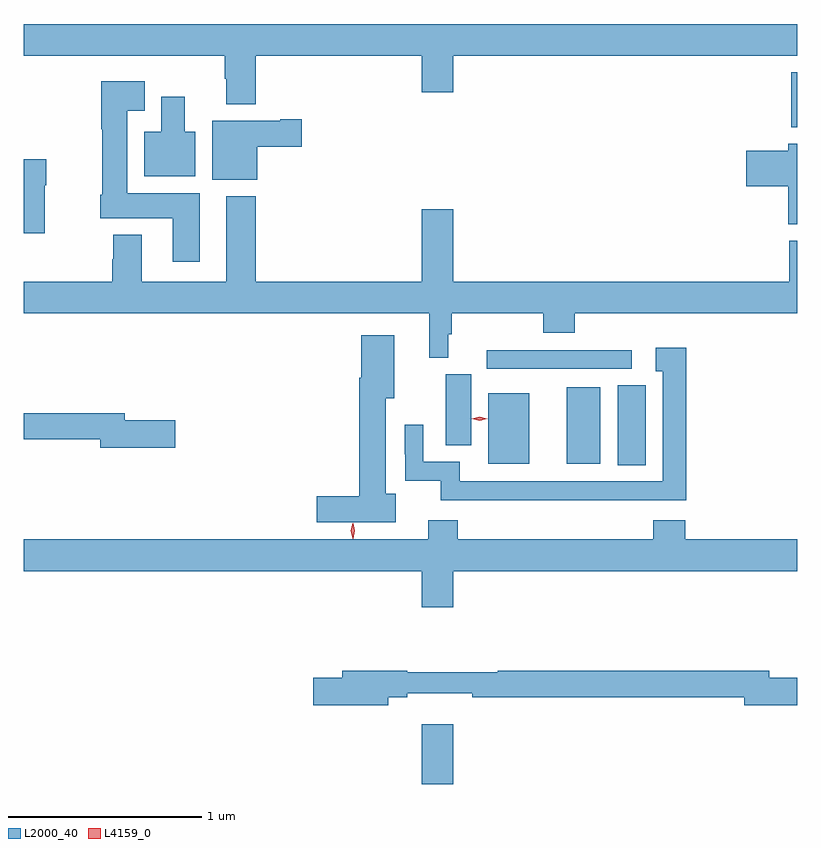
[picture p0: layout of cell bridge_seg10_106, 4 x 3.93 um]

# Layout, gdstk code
import gdstk
lib = gdstk.Library(unit=1e-6, precision=1e-09)
def R(c, l, rs):  # rectangles x0, y0, x1, y1
    for r in rs: c.add(gdstk.rectangle(r[:2], r[2:], *l))
def P(c, l, *ps):  # polygons
    for p in ps: c.add(gdstk.Polygon(p, *l))
L2000_40 = (2000, 40)
L4159_0 = (4159, 0)

bridge_seg10_106 = lib.new_cell('bridge_seg10_106')
R(bridge_seg10_106, L2000_40, [(476.696,1279.235,476.86,1279.543), (477.71,1280.884,477.853,1281.296), (477.041,1280.891,477.253,1281.256), (477.446,1280.891,477.619,1281.286), (476.819,1280.987,476.953,1281.354), (477.033,1281.381,477.781,1281.477), (478.607,1282.629,478.638,1282.915)])
P(bridge_seg10_106, L2000_40, [(475.838,1283),(476.696,1283),(476.696,1282.812),(476.86,1282.812),(476.86,1283),(478.638,1283),(478.638,1283.164),(474.638,1283.164),(474.638,1283),(475.678,1283),(475.678,1282.88),(475.685,1282.88),(475.685,1282.748),(475.838,1282.748)],
  [(475.549,1282.288),(475.174,1282.288),(475.174,1282.715),(475.264,1282.715),(475.264,1282.867),(475.04,1282.867),(475.04,1282.619),(475.045,1282.619),(475.045,1282.281),(475.034,1282.281),(475.034,1282.16),(475.409,1282.16),(475.409,1281.936),(475.549,1281.936)],
  [(475.525,1282.606),(475.471,1282.606),(475.471,1282.789),(475.349,1282.789),(475.349,1282.606),(475.262,1282.606),(475.262,1282.376),(475.525,1282.376)],
  [(475.846,1282.529),(476.077,1282.529),(476.077,1282.671),(475.964,1282.671),(475.964,1282.663),(475.613,1282.663),(475.613,1282.358),(475.846,1282.358)],
  [(478.638,1282.544),(478.592,1282.544),(478.592,1282.508),(478.374,1282.508),(478.374,1282.325),(478.592,1282.325),(478.592,1282.129),(478.638,1282.129)],
  [(474.748,1282.331),(474.756,1282.331),(474.756,1282.464),(474.638,1282.464),(474.638,1282.083),(474.748,1282.083)],
  [(476.834,1281.56),(476.852,1281.56),(476.852,1281.668),(477.323,1281.668),(477.323,1281.569),(477.488,1281.569),(477.488,1281.668),(478.638,1281.668),(478.638,1282.044),(478.595,1282.044),(478.595,1281.832),(476.86,1281.832),(476.86,1282.207),(476.696,1282.207),(476.696,1281.832),(475.838,1281.832),(475.838,1282.273),(475.685,1282.273),(475.685,1281.832),(475.249,1281.832),(475.249,1282.075),(475.102,1282.075),(475.102,1281.948),(475.097,1281.948),(475.097,1281.832),(474.638,1281.832),(474.638,1281.668),(476.735,1281.668),(476.735,1281.439),(476.834,1281.439)],
  [(476.563,1280.736),(476.509,1280.736),(476.509,1281.23),(476.554,1281.23),(476.554,1281.556),(476.384,1281.556),(476.384,1281.334),(476.372,1281.334),(476.372,1280.723),(476.154,1280.723),(476.154,1280.588),(476.563,1280.588)],
  [(477.809,1280.703),(478.063,1280.703),(478.063,1281.49),(477.905,1281.49),(477.905,1281.369),(477.941,1281.369),(477.941,1280.799),(476.893,1280.799),(476.893,1280.902),(476.703,1280.902),(476.703,1281.091),(476.607,1281.091),(476.607,1280.94),(476.61,1280.94),(476.61,1280.802),(476.794,1280.802),(476.794,1280.702),(477.809,1280.702)],
  [(475.423,1281.116),(475.162,1281.116),(475.162,1281.152),(474.638,1281.152),(474.638,1281.016),(475.034,1281.016),(475.034,1280.974),(475.423,1280.974)],
  [(476.86,1280.336),(478.638,1280.336),(478.638,1280.5),(478.058,1280.5),(478.058,1280.599),(477.893,1280.599),(477.893,1280.5),(476.882,1280.5),(476.882,1280.599),(476.729,1280.599),(476.729,1280.5),(474.638,1280.5),(474.638,1280.336),(476.696,1280.336),(476.696,1280.148),(476.86,1280.148)],
  [(476.524,1279.684),(476.62,1279.684),(476.62,1279.703),(476.956,1279.703),(476.956,1279.684),(478.364,1279.684),(478.364,1279.642),(478.638,1279.642),(478.638,1279.784),(478.492,1279.784),(478.492,1279.82),(477.089,1279.82),(477.089,1279.813),(476.62,1279.813),(476.62,1279.82),(476.285,1279.82),(476.285,1279.784),(476.136,1279.784),(476.136,1279.642),(476.524,1279.642)])
P(bridge_seg10_106, L4159_0, [(476.996,1281.113),(476.955,1281.123),(476.955,1281.124),(476.955,1281.124),(476.996,1281.133),(477.036,1281.122),(477.036,1281.122),(477.036,1281.122)],
  [(476.34,1280.504),(476.34,1280.504),(476.33,1280.544),(476.34,1280.584),(476.34,1280.584),(476.341,1280.584),(476.35,1280.544),(476.341,1280.504)])

lib.write_gds('bridge_seg10_106.gds')
